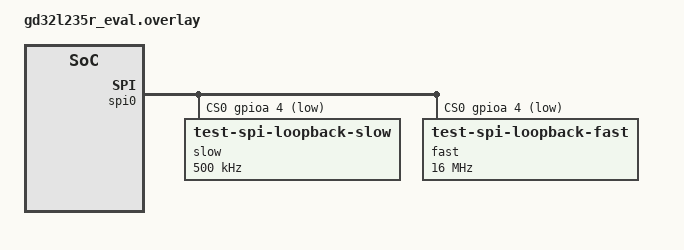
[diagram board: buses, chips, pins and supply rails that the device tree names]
/*
 * Copyright (c) 2026 GigaDevice Semiconductor Inc.
 * SPDX-License-Identifier: Apache-2.0
 */

&spi0 {
	status = "okay";
	pinctrl-0 = <&spi0_default>;
	pinctrl-names = "default";

	cs-gpios = <&gpioa 4 GPIO_ACTIVE_LOW>;

	slow@0 {
		compatible = "test-spi-loopback-slow";
		reg = <0>;
		spi-max-frequency = <500000>;
	};

	fast@0 {
		compatible = "test-spi-loopback-fast";
		reg = <0>;
		spi-max-frequency = <16000000>;
	};
};
